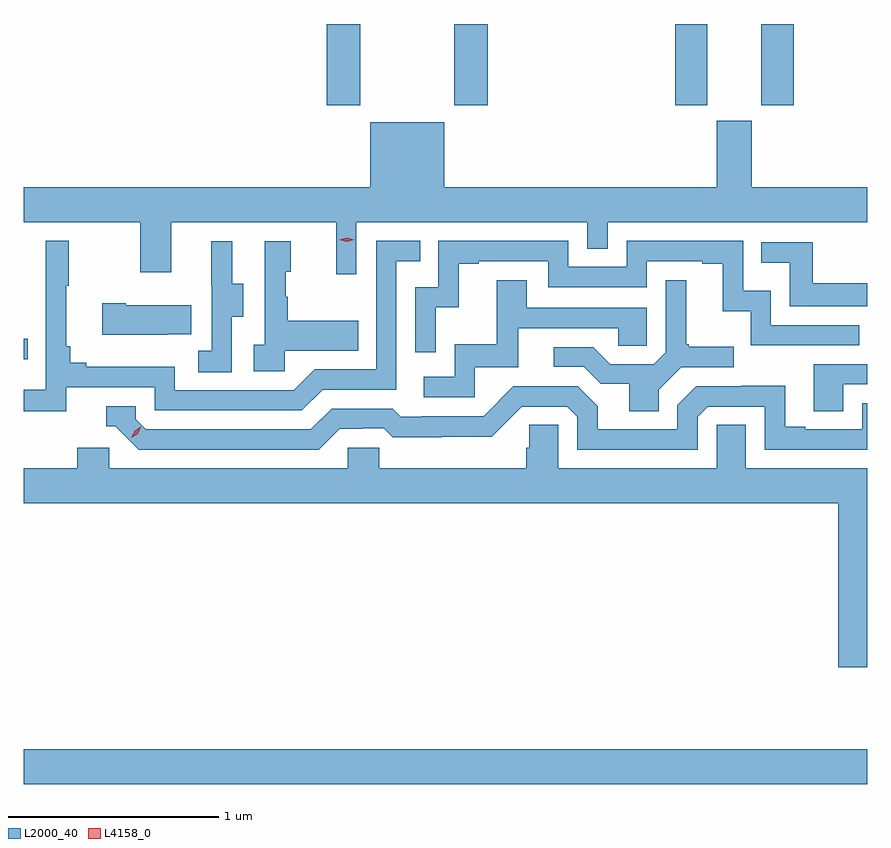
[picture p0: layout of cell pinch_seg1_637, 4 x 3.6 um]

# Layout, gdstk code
import gdstk
lib = gdstk.Library(unit=1e-6, precision=1e-09)
def R(c, l, rs):  # rectangles x0, y0, x1, y1
    for r in rs: c.add(gdstk.rectangle(r[:2], r[2:], *l))
def P(c, l, *ps):  # polygons
    for p in ps: c.add(gdstk.Polygon(p, *l))
L2000_40 = (2000, 40)
L4158_0 = (4158, 0)

pinch_seg1_637 = lib.new_cell('pinch_seg1_637')
R(pinch_seg1_637, L2000_40, [(1079.025,510.44,1083.025,510.604), (1079.025,512.453,1079.045,512.552), (1080.461,513.657,1080.621,514.043), (1081.066,513.657,1081.226,514.043), (1082.114,513.657,1082.266,514.043), (1082.522,513.657,1082.675,514.043)])
P(pinch_seg1_637, L2000_40, [(1080.603,513.104),(1081.698,513.104),(1081.698,512.977),(1081.794,512.977),(1081.794,513.104),(1083.025,513.104),(1083.025,513.268),(1082.476,513.268),(1082.476,513.585),(1082.312,513.585),(1082.312,513.268),(1081.018,513.268),(1081.018,513.577),(1080.668,513.577),(1080.668,513.268),(1079.025,513.268),(1079.025,513.104),(1079.578,513.104),(1079.578,512.865),(1079.725,512.865),(1079.725,513.104),(1080.506,513.104),(1080.506,512.856),(1080.603,512.856)],
  [(1079.228,512.322),(1079.646,512.322),(1079.646,512.211),(1080.343,512.211),(1080.442,512.31),(1080.792,512.31),(1080.792,512.919),(1080.905,512.919),(1080.905,513.015),(1080.696,513.015),(1080.696,512.406),(1080.405,512.406),(1080.306,512.307),(1079.742,512.307),(1079.742,512.419),(1079.323,512.419),(1079.323,512.438),(1079.246,512.438),(1079.246,512.515),(1079.227,512.515),(1079.227,512.803),(1079.239,512.803),(1079.239,513.016),(1079.13,513.016),(1079.13,512.308),(1079.025,512.308),(1079.025,512.206),(1079.228,512.206)],
  [(1080.978,512.699),(1081.088,512.699),(1081.088,512.907),(1081.183,512.907),(1081.183,512.919),(1081.512,512.919),(1081.512,512.796),(1081.98,512.796),(1081.98,512.919),(1082.243,512.919),(1082.243,512.907),(1082.339,512.907),(1082.339,512.681),(1082.472,512.681),(1082.472,512.52),(1082.987,512.52),(1082.987,512.616),(1082.568,512.616),(1082.568,512.779),(1082.436,512.779),(1082.436,513.015),(1081.884,513.015),(1081.884,512.892),(1081.608,512.892),(1081.608,513.015),(1080.99,513.015),(1080.99,512.796),(1080.882,512.796),(1080.882,512.487),(1080.978,512.487)],
  [(1080.012,512.656),(1080.067,512.656),(1080.067,512.811),(1080.013,512.811),(1080.013,513.013),(1079.915,513.013),(1079.915,512.799),(1079.916,512.799),(1079.916,512.495),(1079.853,512.495),(1079.853,512.392),(1080.012,512.392)],
  [(1080.264,512.495),(1080.611,512.495),(1080.611,512.635),(1080.277,512.635),(1080.277,512.75),(1080.267,512.75),(1080.267,512.868),(1080.292,512.868),(1080.292,513.013),(1080.168,513.013),(1080.168,512.522),(1080.117,512.522),(1080.117,512.397),(1080.264,512.397)],
  [(1083.025,512.815),(1082.767,512.815),(1082.767,513.009),(1082.521,513.009),(1082.521,512.912),(1082.656,512.912),(1082.656,512.706),(1083.025,512.706)],
  [(1081.164,512.415),(1081.369,512.415),(1081.369,512.601),(1081.843,512.601),(1081.843,512.517),(1081.98,512.517),(1081.98,512.697),(1081.411,512.697),(1081.411,512.827),(1081.267,512.827),(1081.267,512.524),(1081.068,512.524),(1081.068,512.37),(1080.921,512.37),(1080.921,512.274),(1081.164,512.274)],
  [(1082.035,512.308),(1082.142,512.415),(1082.392,512.415),(1082.392,512.512),(1082.179,512.512),(1082.179,512.524),(1082.167,512.524),(1082.167,512.827),(1082.07,512.827),(1082.07,512.487),(1082.013,512.43),(1081.807,512.43),(1081.726,512.511),(1081.539,512.511),(1081.539,512.418),(1081.68,512.418),(1081.76,512.338),(1081.895,512.338),(1081.895,512.206),(1082.035,512.206)],
  [(1079.711,512.573),(1079.819,512.573),(1079.819,512.71),(1079.509,512.71),(1079.509,512.718),(1079.397,512.718),(1079.397,512.57),(1079.711,512.57)],
  [(1082.911,512.334),(1083.025,512.334),(1083.025,512.43),(1082.771,512.43),(1082.771,512.206),(1082.911,512.206)],
  [(1080.523,512.124),(1080.63,512.124),(1080.63,512.127),(1080.733,512.127),(1080.775,512.085),(1081.008,512.085),(1081.008,512.087),(1081.244,512.087),(1081.386,512.229),(1081.602,512.229),(1081.65,512.181),(1081.65,512.025),(1082.22,512.025),(1082.22,512.181),(1082.268,512.229),(1082.538,512.229),(1082.538,512.025),(1083.025,512.025),(1083.025,512.244),(1083,512.244),(1083,512.121),(1082.731,512.121),(1082.731,512.134),(1082.635,512.134),(1082.635,512.327),(1082.43,512.327),(1082.43,512.325),(1082.214,512.325),(1082.124,512.235),(1082.124,512.121),(1081.747,512.121),(1081.747,512.231),(1081.653,512.325),(1081.347,512.325),(1081.206,512.184),(1080.913,512.184),(1080.913,512.181),(1080.814,512.181),(1080.775,512.22),(1080.486,512.22),(1080.387,512.121),(1079.604,512.121),(1079.556,512.169),(1079.556,512.232),(1079.417,512.232),(1079.417,512.136),(1079.46,512.136),(1079.571,512.025),(1080.424,512.025)],
  [(1083.025,511.936),(1082.449,511.936),(1082.449,512.144),(1082.31,512.144),(1082.31,511.936),(1081.56,511.936),(1081.56,512.144),(1081.423,512.144),(1081.423,512.034),(1081.409,512.034),(1081.409,511.936),(1080.711,511.936),(1080.711,512.034),(1080.561,512.034),(1080.561,511.936),(1079.43,511.936),(1079.43,512.034),(1079.279,512.034),(1079.279,511.936),(1079.025,511.936),(1079.025,511.772),(1082.888,511.772),(1082.888,510.993),(1083.025,510.993)])
P(pinch_seg1_637, L4158_0, [(1079.535,512.081),(1079.535,512.081),(1079.551,512.114),(1079.581,512.134),(1079.581,512.134),(1079.581,512.133),(1079.566,512.101),(1079.536,512.081)],
  [(1080.556,513.01),(1080.521,513.02),(1080.52,513.02),(1080.521,513.02),(1080.556,513.03),(1080.592,513.021),(1080.592,513.021),(1080.592,513.02)])

lib.write_gds('pinch_seg1_637.gds')
